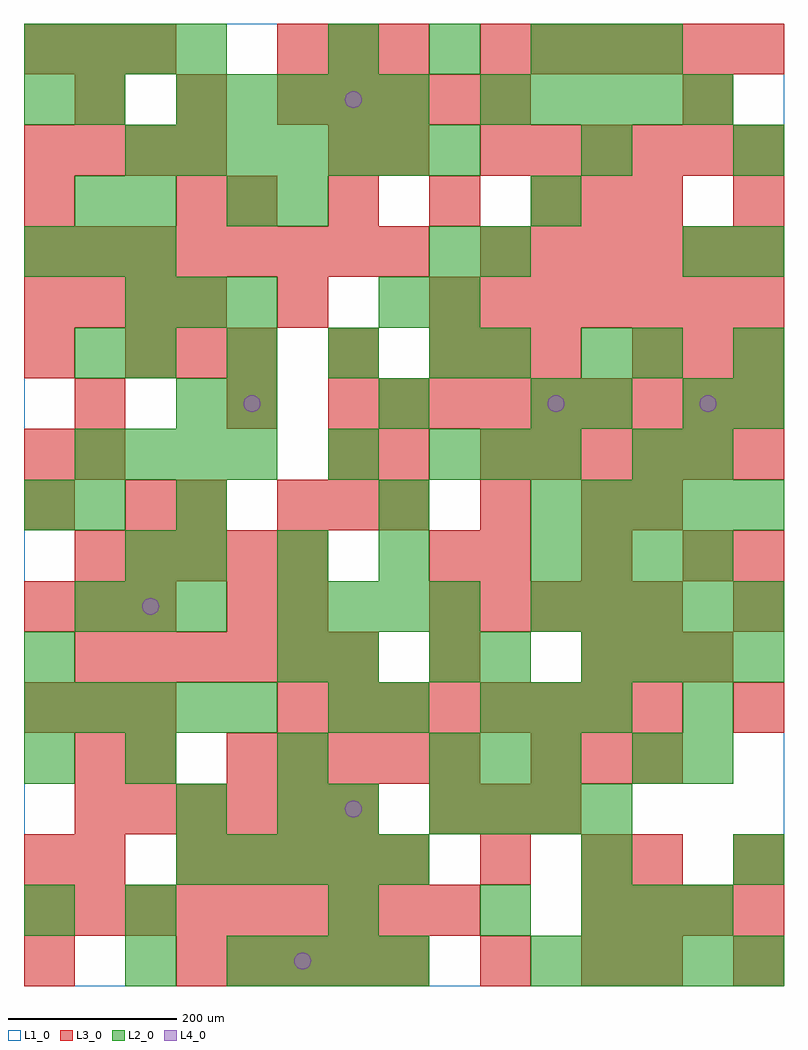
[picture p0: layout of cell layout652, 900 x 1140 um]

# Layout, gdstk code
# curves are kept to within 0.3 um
import gdstk
lib = gdstk.Library(unit=1e-6, precision=1e-09)
def R(c, l, rs):  # rectangles x0, y0, x1, y1
    for r in rs: c.add(gdstk.rectangle(r[:2], r[2:], *l))
def A(c, l, x, y, w, h, nx, ny, dx, dy):  # array of equal rectangles
    R(c, l, [(x+i*dx, y+j*dy, x+i*dx+w, y+j*dy+h) for i in range(nx) for j in range(ny)])
def P(c, l, *ps):  # polygons
    for p in ps: c.add(gdstk.Polygon(p, *l))
L1_0 = (1, 0)
L2_0 = (2, 0)
L3_0 = (3, 0)
L4_0 = (4, 0)

layout652 = lib.new_cell('layout652')
R(layout652, L1_0, [(0,0,900,1140)])
A(layout652, L2_0, 240, 0, 60, 60, 4, 1, 60, 0)
A(layout652, L2_0, 600, 0, 60, 60, 5, 2, 60, 420)
A(layout652, L2_0, 120, 60, 60, 60, 1, 3, 0, 420)
A(layout652, L2_0, 360, 60, 60, 60, 1, 3, 0, 120)
A(layout652, L2_0, 660, 60, 60, 60, 3, 1, 60, 0)
A(layout652, L2_0, 180, 120, 60, 60, 5, 2, 60, 900)
A(layout652, L2_0, 480, 180, 60, 60, 4, 1, 60, 0)
A(layout652, L2_0, 120, 240, 60, 60, 3, 1, 180, 0)
A(layout652, L2_0, 0, 300, 60, 60, 5, 1, 60, 0)
A(layout652, L2_0, 420, 300, 60, 60, 1, 3, 0, 240)
A(layout652, L2_0, 540, 300, 60, 60, 3, 1, 60, 0)
A(layout652, L2_0, 660, 360, 60, 60, 4, 1, 60, 0)
A(layout652, L2_0, 60, 420, 60, 60, 3, 1, 60, 0)
A(layout652, L2_0, 300, 420, 60, 60, 4, 1, 60, 0)
A(layout652, L2_0, 180, 480, 60, 60, 3, 1, 120, 0)
A(layout652, L2_0, 600, 480, 60, 60, 4, 1, 60, 0)
A(layout652, L2_0, 60, 540, 60, 60, 1, 3, 0, 180)
A(layout652, L2_0, 600, 540, 60, 60, 5, 1, 60, 0)
A(layout652, L2_0, 60, 600, 60, 60, 4, 1, 60, 0)
A(layout652, L2_0, 480, 600, 60, 60, 3, 1, 60, 0)
A(layout652, L2_0, 240, 660, 60, 60, 3, 1, 180, 0)
A(layout652, L2_0, 120, 720, 60, 60, 4, 1, 120, 0)
A(layout652, L2_0, 840, 720, 60, 60, 1, 3, 0, 120)
A(layout652, L2_0, 120, 780, 60, 60, 3, 1, 60, 0)
A(layout652, L2_0, 0, 840, 60, 60, 3, 1, 60, 0)
A(layout652, L2_0, 120, 960, 60, 60, 7, 1, 60, 0)
A(layout652, L2_0, 540, 1020, 60, 60, 5, 1, 60, 0)
A(layout652, L2_0, 0, 1080, 60, 60, 4, 1, 60, 0)
A(layout652, L2_0, 360, 1080, 60, 60, 3, 1, 120, 0)
R(layout652, L2_0, [(120,0,180,60), (0,60,60,120), (540,60,600,120), (660,120,720,180), (840,120,900,180), (180,180,240,240), (300,180,360,240), (0,240,60,300), (540,240,600,300), (600,240,660,300), (720,240,780,300), (780,240,840,300), (780,300,840,360), (0,360,60,420), (300,360,360,420), (360,360,420,420), (480,360,540,420), (540,360,600,420), (0,540,60,600), (180,540,240,600), (360,600,420,660), (720,600,780,660), (780,600,840,660), (180,660,240,720), (660,660,720,720), (780,660,840,720), (840,660,900,720), (540,720,600,780), (660,720,720,780), (720,720,780,780), (480,780,540,840), (480,840,540,900), (540,840,600,900), (780,840,840,900), (240,900,300,960), (300,900,360,960), (600,900,660,960), (660,960,720,1020), (0,1020,60,1080), (60,1020,120,1080), (660,1080,720,1140), (720,1080,780,1140)])
A(layout652, L3_0, 180, 0, 60, 60, 5, 2, 60, 120)
A(layout652, L3_0, 0, 60, 60, 60, 9, 1, 60, 0)
A(layout652, L3_0, 660, 60, 60, 60, 4, 1, 60, 0)
A(layout652, L3_0, 60, 180, 60, 60, 6, 2, 60, 180)
A(layout652, L3_0, 480, 180, 60, 60, 3, 2, 60, 540)
A(layout652, L3_0, 240, 240, 60, 60, 5, 1, 60, 0)
A(layout652, L3_0, 600, 240, 60, 60, 3, 1, 60, 0)
A(layout652, L3_0, 0, 300, 60, 60, 3, 2, 60, 120)
A(layout652, L3_0, 300, 300, 60, 60, 8, 1, 60, 0)
A(layout652, L3_0, 660, 360, 60, 60, 3, 1, 60, 0)
A(layout652, L3_0, 480, 420, 60, 60, 5, 1, 60, 0)
A(layout652, L3_0, 60, 480, 60, 60, 5, 1, 60, 0)
A(layout652, L3_0, 540, 480, 60, 60, 3, 1, 120, 0)
A(layout652, L3_0, 300, 540, 60, 60, 3, 2, 60, 540)
A(layout652, L3_0, 540, 600, 60, 60, 6, 2, 60, 240)
A(layout652, L3_0, 360, 660, 60, 60, 9, 1, 60, 0)
A(layout652, L3_0, 120, 720, 60, 60, 3, 1, 60, 0)
A(layout652, L3_0, 720, 720, 60, 60, 3, 1, 60, 0)
A(layout652, L3_0, 0, 780, 60, 60, 4, 2, 60, 180)
A(layout652, L3_0, 480, 780, 60, 60, 7, 1, 60, 0)
A(layout652, L3_0, 0, 840, 60, 60, 8, 1, 60, 0)
A(layout652, L3_0, 240, 900, 60, 60, 4, 1, 120, 0)
A(layout652, L3_0, 540, 960, 60, 60, 6, 2, 60, 120)
A(layout652, L3_0, 60, 1020, 60, 60, 3, 1, 120, 0)
A(layout652, L3_0, 360, 1020, 60, 60, 4, 1, 60, 0)
A(layout652, L3_0, 0, 1080, 60, 60, 3, 1, 60, 0)
R(layout652, L3_0, [(0,0,60,60), (540,0,600,60), (660,0,720,60), (720,0,780,60), (840,0,900,60), (0,120,60,180), (60,120,120,180), (540,120,600,180), (660,120,720,180), (720,120,780,180), (840,120,900,180), (60,240,120,300), (120,240,180,300), (840,300,900,360), (480,360,540,420), (240,420,300,480), (300,420,360,480), (840,420,900,480), (480,480,540,540), (840,480,900,540), (0,540,60,600), (120,540,180,600), (180,540,240,600), (540,540,600,600), (660,540,720,600), (720,540,780,600), (0,600,60,660), (60,600,120,660), (360,600,420,660), (420,600,480,660), (60,660,120,720), (240,660,300,720), (0,720,60,780), (360,720,420,780), (300,780,360,840), (0,900,60,960), (180,900,240,960), (660,900,720,960), (720,900,780,960), (840,900,900,960), (360,960,420,1020), (420,960,480,1020), (780,1020,840,1080)])
P(layout652, L4_0, [(160,450),(159.239,453.827),(157.071,457.071),(153.827,459.239),(150,460),(146.173,459.239),(142.929,457.071),(140.761,453.827),(140,450),(140.761,446.173),(142.929,442.929),(146.173,440.761),(150,440),(153.827,440.761),(157.071,442.929),(159.239,446.173)],
  [(280,690),(279.239,693.827),(277.071,697.071),(273.827,699.239),(270,700),(266.173,699.239),(262.929,697.071),(260.761,693.827),(260,690),(260.761,686.173),(262.929,682.929),(266.173,680.761),(270,680),(273.827,680.761),(277.071,682.929),(279.239,686.173)],
  [(340,30),(339.239,33.827),(337.071,37.071),(333.827,39.239),(330,40),(326.173,39.239),(322.929,37.071),(320.761,33.827),(320,30),(320.761,26.173),(322.929,22.929),(326.173,20.761),(330,20),(333.827,20.761),(337.071,22.929),(339.239,26.173)],
  [(400,210),(399.239,213.827),(397.071,217.071),(393.827,219.239),(390,220),(386.173,219.239),(382.929,217.071),(380.761,213.827),(380,210),(380.761,206.173),(382.929,202.929),(386.173,200.761),(390,200),(393.827,200.761),(397.071,202.929),(399.239,206.173)],
  [(400,1050),(399.239,1053.827),(397.071,1057.071),(393.827,1059.239),(390,1060),(386.173,1059.239),(382.929,1057.071),(380.761,1053.827),(380,1050),(380.761,1046.173),(382.929,1042.929),(386.173,1040.761),(390,1040),(393.827,1040.761),(397.071,1042.929),(399.239,1046.173)],
  [(640,690),(639.239,693.827),(637.071,697.071),(633.827,699.239),(630,700),(626.173,699.239),(622.929,697.071),(620.761,693.827),(620,690),(620.761,686.173),(622.929,682.929),(626.173,680.761),(630,680),(633.827,680.761),(637.071,682.929),(639.239,686.173)],
  [(820,690),(819.239,693.827),(817.071,697.071),(813.827,699.239),(810,700),(806.173,699.239),(802.929,697.071),(800.761,693.827),(800,690),(800.761,686.173),(802.929,682.929),(806.173,680.761),(810,680),(813.827,680.761),(817.071,682.929),(819.239,686.173)])

lib.write_gds('layout652.gds')
